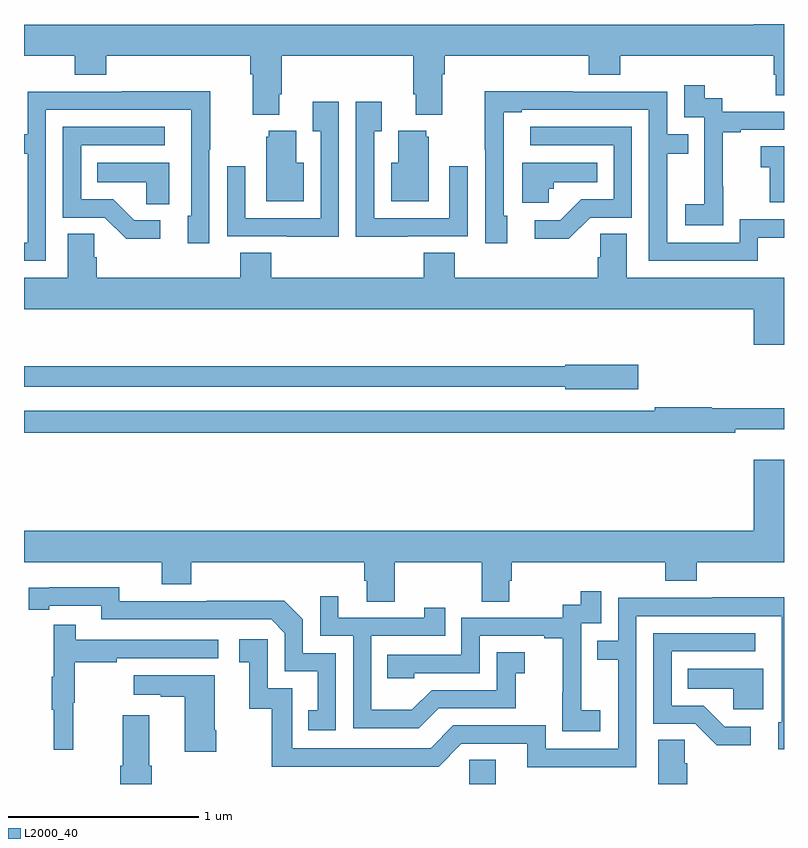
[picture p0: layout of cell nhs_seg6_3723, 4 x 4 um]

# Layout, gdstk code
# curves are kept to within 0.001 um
import gdstk
lib = gdstk.Library(unit=1e-6, precision=1e-09)
def R(c, l, rs):  # rectangles x0, y0, x1, y1
    for r in rs: c.add(gdstk.rectangle(r[:2], r[2:], *l))
def P(c, l, *ps):  # polygons
    for p in ps: c.add(gdstk.Polygon(p, *l))
L2000_40 = (2000, 40)

nhs_seg6_3723 = lib.new_cell('nhs_seg6_3723')
R(nhs_seg6_3723, L2000_40, [(331.344,947.5,331.483,947.627)])
P(nhs_seg6_3723, L2000_40, [(330.343,951.13),(330.356,951.13),(330.356,951.332),(331.049,951.332),(331.049,951.13),(331.061,951.13),(331.061,951.023),(331.201,951.023),(331.201,951.236),(331.214,951.236),(331.214,951.332),(331.973,951.332),(331.973,951.233),(332.138,951.233),(332.138,951.332),(332.945,951.332),(332.945,951.234),(332.957,951.234),(332.957,951.124),(333,951.124),(333,951.5),(332.84,951.5),(332.84,951.496),(329,951.496),(329,951.332),(329.267,951.332),(329.267,951.233),(329.432,951.233),(329.432,951.332),(330.191,951.332),(330.191,951.236),(330.203,951.236),(330.203,951.023),(330.343,951.023)],
  [(332.679,950.647),(332.678,950.647),(332.678,950.931),(332.773,950.931),(332.773,950.943),(333,950.943),(333,951.039),(332.676,951.039),(332.676,951.108),(332.584,951.108),(332.584,951.178),(332.475,951.178),(332.475,951.009),(332.58,951.009),(332.58,950.78),(332.579,950.78),(332.579,950.551),(332.481,950.551),(332.481,950.441),(332.679,950.441)],
  [(329.115,951.048),(329.88,951.048),(329.88,950.49),(329.861,950.49),(329.861,950.346),(329.976,950.346),(329.976,950.839),(329.979,950.839),(329.979,951.146),(329.515,951.146),(329.515,951.144),(329.019,951.144),(329.019,950.919),(329,950.919),(329,950.818),(329.019,950.818),(329.019,950.349),(329,950.349),(329,950.253),(329.115,950.253)],
  [(332.863,950.376),(333,950.376),(333,950.472),(332.766,950.472),(332.766,950.349),(332.385,950.349),(332.385,950.818),(332.495,950.818),(332.495,950.919),(332.385,950.919),(332.385,951.144),(331.889,951.144),(331.889,951.146),(331.426,951.146),(331.426,950.839),(331.428,950.839),(331.428,950.346),(331.543,950.346),(331.543,950.49),(331.524,950.49),(331.524,951.036),(331.621,951.036),(331.621,951.048),(332.289,951.048),(332.289,950.253),(332.863,950.253)],
  [(331.019,950.382),(331.335,950.382),(331.335,950.752),(331.239,950.752),(331.239,950.478),(330.843,950.478),(330.843,950.935),(330.883,950.935),(330.883,951.091),(330.747,951.091),(330.747,950.381),(331.019,950.381)],
  [(330.657,951.091),(330.521,951.091),(330.521,950.935),(330.561,950.935),(330.561,950.478),(330.165,950.478),(330.165,950.752),(330.069,950.752),(330.069,950.382),(330.385,950.382),(330.385,950.381),(330.657,950.381)],
  [(329.716,950.466),(329.581,950.466),(329.47,950.577),(329.301,950.577),(329.301,950.862),(329.74,950.862),(329.74,950.958),(329.205,950.958),(329.205,950.481),(329.424,950.481),(329.537,950.369),(329.716,950.369)],
  [(331.98,950.481),(332.199,950.481),(332.199,950.958),(331.665,950.958),(331.665,950.862),(332.103,950.862),(332.103,950.577),(331.934,950.577),(331.823,950.466),(331.689,950.466),(331.689,950.369),(331.867,950.369)],
  [(330.472,950.77),(330.433,950.77),(330.433,950.938),(330.287,950.938),(330.287,950.907),(330.275,950.907),(330.275,950.567),(330.472,950.567)],
  [(331.129,950.907),(331.118,950.907),(331.118,950.938),(330.971,950.938),(330.971,950.77),(330.932,950.77),(330.932,950.567),(331.129,950.567)],
  [(333,950.857),(332.877,950.857),(332.877,950.747),(332.926,950.747),(332.926,950.562),(333,950.562)],
  [(329.764,950.77),(329.386,950.77),(329.386,950.666),(329.643,950.666),(329.643,950.551),(329.764,950.551)],
  [(331.761,950.634),(331.788,950.634),(331.788,950.666),(332.018,950.666),(332.018,950.77),(331.622,950.77),(331.622,950.558),(331.761,950.558)],
  [(333,950.164),(332.173,950.164),(332.173,950.396),(332.034,950.396),(332.034,950.273),(332.021,950.273),(332.021,950.164),(331.268,950.164),(331.268,950.297),(331.103,950.297),(331.103,950.164),(330.302,950.164),(330.302,950.297),(330.137,950.297),(330.137,950.164),(329.384,950.164),(329.384,950.273),(329.37,950.273),(329.37,950.396),(329.231,950.396),(329.231,950.164),(329,950.164),(329,950),(332.84,950),(332.84,949.812),(333,949.812)],
  [(332.233,949.707),(331.848,949.707),(331.848,949.699),(329,949.699),(329,949.59),(331.848,949.59),(331.848,949.577),(332.233,949.577)],
  [(332.744,949.367),(333,949.367),(333,949.477),(332.62,949.477),(332.62,949.484),(332.32,949.484),(332.32,949.464),(329,949.464),(329,949.348),(332.744,949.348)],
  [(330.951,948.668),(331.408,948.668),(331.408,948.46),(331.555,948.46),(331.555,948.57),(331.568,948.57),(331.568,948.668),(332.375,948.668),(332.375,948.569),(332.54,948.569),(332.54,948.668),(333,948.668),(333,949.207),(332.84,949.207),(332.84,948.832),(329,948.832),(329,948.668),(329.726,948.668),(329.726,948.551),(329.879,948.551),(329.879,948.668),(330.791,948.668),(330.791,948.57),(330.803,948.57),(330.803,948.46),(330.951,948.46)],
  [(330.642,948.189),(330.468,948.189),(330.468,948.366),(330.37,948.464),(329.962,948.464),(329.962,948.462),(329.502,948.462),(329.502,948.535),(329.026,948.534),(329.026,948.418),(329.134,948.418),(329.134,948.438),(329.406,948.438),(329.406,948.366),(330.3,948.366),(330.372,948.294),(330.372,948.093),(330.545,948.093),(330.545,947.889),(330.496,947.889),(330.496,947.784),(330.642,947.784)],
  [(332.032,947.887),(331.934,947.887),(331.934,948.116),(331.932,948.116),(331.932,948.345),(332.037,948.345),(332.037,948.514),(331.929,948.514),(331.929,948.444),(331.836,948.444),(331.836,948.375),(331.302,948.375),(331.302,948.18),(330.913,948.18),(330.913,948.057),(331.053,948.057),(331.053,948.084),(331.398,948.084),(331.398,948.279),(331.739,948.279),(331.739,948.267),(331.835,948.267),(331.835,947.983),(331.834,947.983),(331.834,947.777),(332.032,947.777)],
  [(331.183,947.898),(331.587,947.898),(331.587,948.083),(331.636,948.083),(331.636,948.193),(331.488,948.193),(331.488,947.994),(331.146,947.994),(331.042,947.89),(330.828,947.89),(330.828,948.279),(331.217,948.279),(331.217,948.427),(331.106,948.427),(331.106,948.375),(330.655,948.375),(330.655,948.487),(330.558,948.487),(330.558,948.279),(330.732,948.279),(330.732,947.793),(331.078,947.793)],
  [(332.223,948.384),(332.987,948.384),(332.988,947.826),(332.969,947.826),(332.969,947.682),(333,947.682),(333,948.482),(332.623,948.482),(332.623,948.48),(332.127,948.48),(332.127,948.255),(332.017,948.255),(332.017,948.154),(332.127,948.154),(332.127,947.685),(331.746,947.685),(331.746,947.808),(331.26,947.808),(331.14,947.688),(330.411,947.688),(330.411,948.003),(330.282,948.003),(330.282,948.262),(330.132,948.262),(330.132,948.141),(330.185,948.141),(330.185,947.895),(330.303,947.895),(330.303,947.592),(331.182,947.592),(331.302,947.712),(331.649,947.712),(331.649,947.589),(332.223,947.589)],
  [(329.258,947.928),(329.266,947.928),(329.266,948.142),(329.489,948.142),(329.489,948.162),(330.022,948.162),(330.022,948.258),(329.273,948.258),(329.273,948.337),(329.156,948.337),(329.156,948.065),(329.145,948.065),(329.145,947.891),(329.156,947.891),(329.156,947.679),(329.258,947.679)],
  [(332.824,947.802),(332.689,947.802),(332.578,947.913),(332.409,947.913),(332.409,948.198),(332.848,948.198),(332.848,948.294),(332.313,948.294),(332.313,947.817),(332.532,947.817),(332.645,947.705),(332.824,947.705)],
  [(332.89,948.106),(332.494,948.106),(332.494,948.002),(332.733,948.002),(332.733,947.894),(332.89,947.894)],
  [(330.012,947.782),(330.004,947.782),(330.004,948.073),(329.577,948.073),(329.577,947.969),(329.72,947.969),(329.72,947.959),(329.846,947.959),(329.846,947.67),(330.012,947.67)],
  [(332.492,947.609),(332.478,947.609),(332.478,947.732),(332.339,947.732),(332.339,947.5),(332.492,947.5)],
  [(329.659,947.596),(329.659,947.863),(329.519,947.863),(329.519,947.596),(329.507,947.596),(329.507,947.5),(329.672,947.5),(329.672,947.596)])

lib.write_gds('nhs_seg6_3723.gds')
